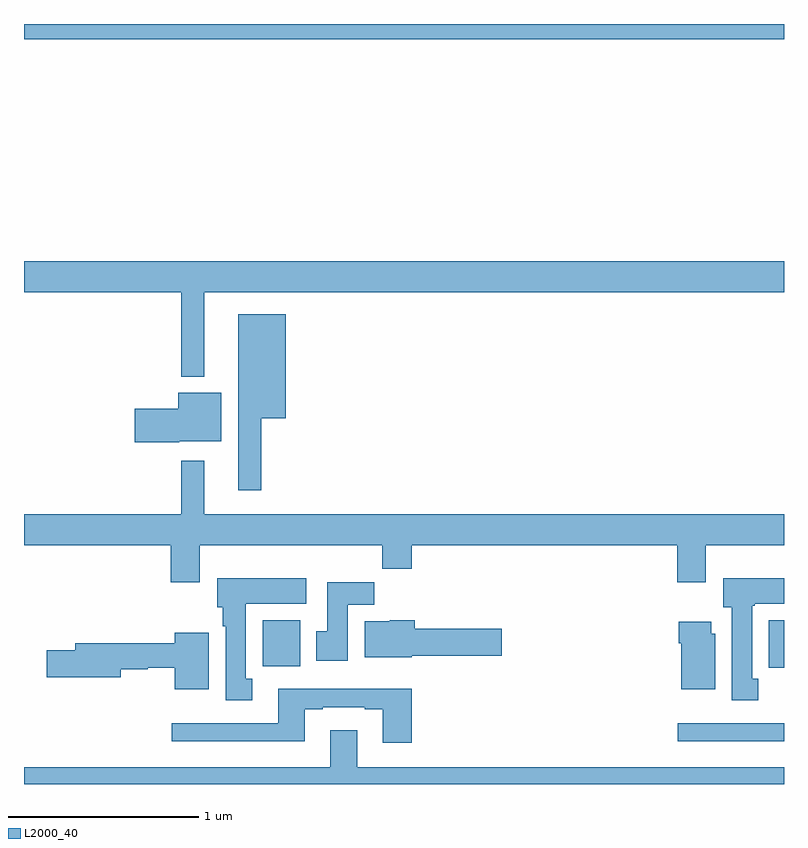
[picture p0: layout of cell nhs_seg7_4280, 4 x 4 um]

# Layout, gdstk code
import gdstk
lib = gdstk.Library(unit=1e-6, precision=1e-09)
def R(c, l, rs):  # rectangles x0, y0, x1, y1
    for r in rs: c.add(gdstk.rectangle(r[:2], r[2:], *l))
def P(c, l, *ps):  # polygons
    for p in ps: c.add(gdstk.Polygon(p, *l))
L2000_40 = (2000, 40)

nhs_seg7_4280 = lib.new_cell('nhs_seg7_4280')
R(nhs_seg7_4280, L2000_40, [(384.441,1026.224,385,1026.321), (384.921,1026.612,385,1026.862), (382.256,1026.62,382.453,1026.862), (381,1029.92,385,1030)])
P(nhs_seg7_4280, L2000_40, [(381.949,1028.588),(385,1028.588),(385,1028.752),(381,1028.752),(381,1028.588),(381.828,1028.588),(381.828,1028.144),(381.949,1028.144)],
  [(382.249,1027.925),(382.378,1027.925),(382.378,1028.473),(382.127,1028.473),(382.127,1027.545),(382.249,1027.545)],
  [(381.816,1027.805),(382.039,1027.805),(382.039,1028.059),(381.812,1028.059),(381.812,1027.976),(381.582,1027.976),(381.582,1027.798),(381.816,1027.798)],
  [(381.925,1027.256),(382.885,1027.256),(382.885,1027.132),(383.042,1027.132),(383.042,1027.256),(384.437,1027.256),(384.437,1027.062),(384.589,1027.062),(384.589,1027.256),(385,1027.256),(385,1027.42),(381.949,1027.42),(381.949,1027.702),(381.828,1027.702),(381.828,1027.42),(381,1027.42),(381,1027.256),(381.773,1027.256),(381.773,1027.062),(381.925,1027.062)],
  [(382.201,1026.554),(382.168,1026.554),(382.168,1026.95),(382.486,1026.95),(382.486,1027.084),(382.016,1027.084),(382.016,1026.93),(382.046,1026.93),(382.046,1026.83),(382.061,1026.83),(382.061,1026.441),(382.201,1026.441)],
  [(384.865,1026.553),(384.832,1026.553),(384.832,1026.937),(384.846,1026.937),(384.846,1026.95),(385,1026.95),(385,1027.084),(384.68,1027.084),(384.68,1026.93),(384.725,1026.93),(384.725,1026.441),(384.865,1026.441)],
  [(382.705,1026.944),(382.844,1026.944),(382.844,1027.063),(382.595,1027.063),(382.595,1026.804),(382.538,1026.804),(382.538,1026.648),(382.705,1026.648)],
  [(383.04,1026.674),(383.515,1026.674),(383.515,1026.816),(383.057,1026.816),(383.057,1026.862),(382.926,1026.862),(382.926,1026.856),(382.793,1026.856),(382.793,1026.668),(383.04,1026.668)],
  [(384.637,1026.792),(384.616,1026.792),(384.616,1026.853),(384.446,1026.853),(384.446,1026.74),(384.458,1026.74),(384.458,1026.5),(384.637,1026.5)],
  [(381.973,1026.796),(381.794,1026.796),(381.794,1026.74),(381.269,1026.74),(381.269,1026.704),(381.12,1026.704),(381.12,1026.562),(381.508,1026.562),(381.508,1026.604),(381.651,1026.604),(381.651,1026.612),(381.794,1026.612),(381.794,1026.5),(381.973,1026.5)],
  [(383.042,1026.502),(382.337,1026.502),(382.337,1026.321),(381.777,1026.321),(381.777,1026.224),(382.477,1026.224),(382.477,1026.393),(382.573,1026.393),(382.573,1026.405),(382.793,1026.405),(382.793,1026.393),(382.889,1026.393),(382.889,1026.216),(383.042,1026.216)],
  [(385,1026.088),(382.753,1026.088),(382.753,1026.283),(382.613,1026.283),(382.613,1026.088),(381,1026.088),(381,1026),(385,1026)])

lib.write_gds('nhs_seg7_4280.gds')
